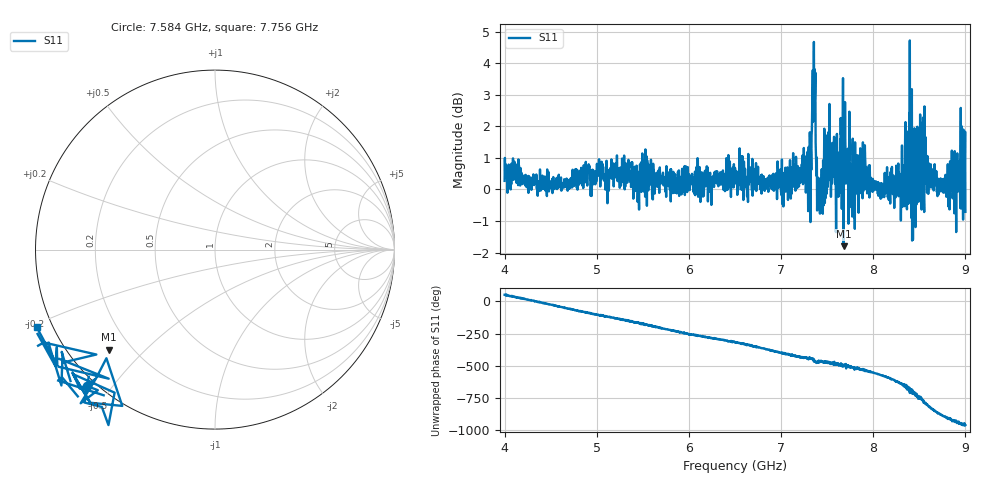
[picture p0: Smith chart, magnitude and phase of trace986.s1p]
! Created with skrf 1.8.0 (http://scikit-rf.org).
# Hz S RI R 50.0
!freq ReS11 ImS11
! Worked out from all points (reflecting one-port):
!   1601 points, 4 GHz to 9 GHz, reference 50 ohm
!   lowest |S11| = -1.8 dB at 7.678 GHz (marker M1), VSWR 9.70, Z = 5.96 - j19.6 ohm
!   phase of S11 starts at 52 deg and turns -1016 deg over the sweep
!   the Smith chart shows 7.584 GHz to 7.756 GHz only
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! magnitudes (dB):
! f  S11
! 4 GHz  0.3
! 4.625 GHz  0.0
! 5.25 GHz  0.1
! 5.875 GHz  0.0
! 6.5 GHz  0.7
! 7.125 GHz  0.6
! 7.294 GHz  -0.7
! 7.316 GHz  1.0
! 7.347 GHz  2.1
! 7.356 GHz  4.7
! 7.4 GHz  0.4
! 7.428 GHz  -0.1
! 7.503 GHz  1.0
! 7.612 GHz  1.0
! 7.65 GHz  1.7
! 7.678 GHz  -1.8
! 7.75 GHz  0.3
! 8.312 GHz  1.4
! 8.375 GHz  1.7
! 8.394 GHz  0.1
! 8.406 GHz  1.0
! 8.447 GHz  1.9
! 8.459 GHz  -1.2
! 8.481 GHz  1.3
! 8.522 GHz  1.4
! 8.712 GHz  0.1
! 8.972 GHz  0.5
! 9 GHz  -0.7
